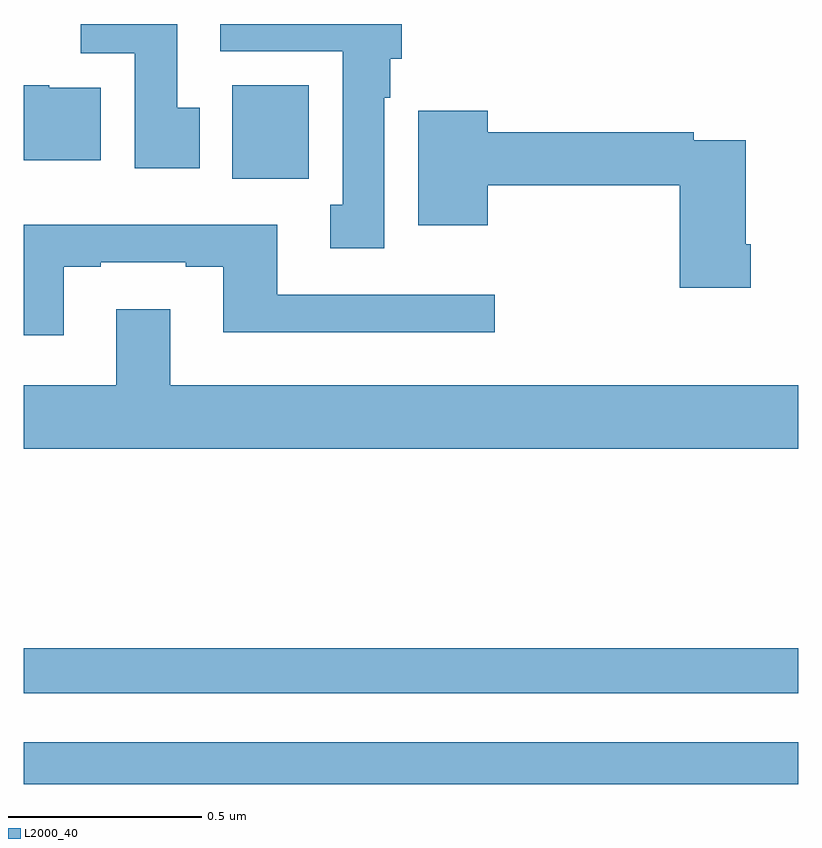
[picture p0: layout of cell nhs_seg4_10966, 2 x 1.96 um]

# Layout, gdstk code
import gdstk
lib = gdstk.Library(unit=1e-6, precision=1e-09)
def R(c, l, rs):  # rectangles x0, y0, x1, y1
    for r in rs: c.add(gdstk.rectangle(r[:2], r[2:], *l))
def P(c, l, *ps):  # polygons
    for p in ps: c.add(gdstk.Polygon(p, *l))
L2000_40 = (2000, 40)

nhs_seg4_10966 = lib.new_cell('nhs_seg4_10966')
R(nhs_seg4_10966, L2000_40, [(246,811.938,248,812.046), (246,812.172,248,812.288), (246.539,813.5,246.736,813.742)])
P(nhs_seg4_10966, L2000_40, [(246.931,813.71),(246.946,813.71),(246.946,813.81),(246.976,813.81),(246.976,813.9),(246.507,813.9),(246.507,813.83),(246.824,813.83),(246.824,813.434),(246.791,813.434),(246.791,813.321),(246.931,813.321)],
  [(246.454,813.684),(246.397,813.684),(246.397,813.9),(246.148,813.9),(246.148,813.824),(246.287,813.824),(246.287,813.528),(246.454,813.528)],
  [(246.199,813.736),(246.066,813.736),(246.066,813.742),(246,813.742),(246,813.548),(246.199,813.548)],
  [(247.877,813.331),(247.864,813.331),(247.864,813.6),(247.73,813.6),(247.73,813.62),(247.198,813.62),(247.198,813.676),(247.019,813.676),(247.019,813.38),(247.198,813.38),(247.198,813.484),(247.694,813.484),(247.694,813.219),(247.877,813.219)],
  [(246.103,813.273),(246.199,813.273),(246.199,813.285),(246.419,813.285),(246.419,813.273),(246.515,813.273),(246.515,813.104),(247.216,813.104),(247.216,813.201),(246.655,813.201),(246.655,813.382),(246,813.382),(246,813.096),(246.103,813.096)],
  [(248,812.968),(246.379,812.968),(246.379,813.163),(246.239,813.163),(246.239,812.968),(246,812.968),(246,812.804),(248,812.804)])

lib.write_gds('nhs_seg4_10966.gds')
